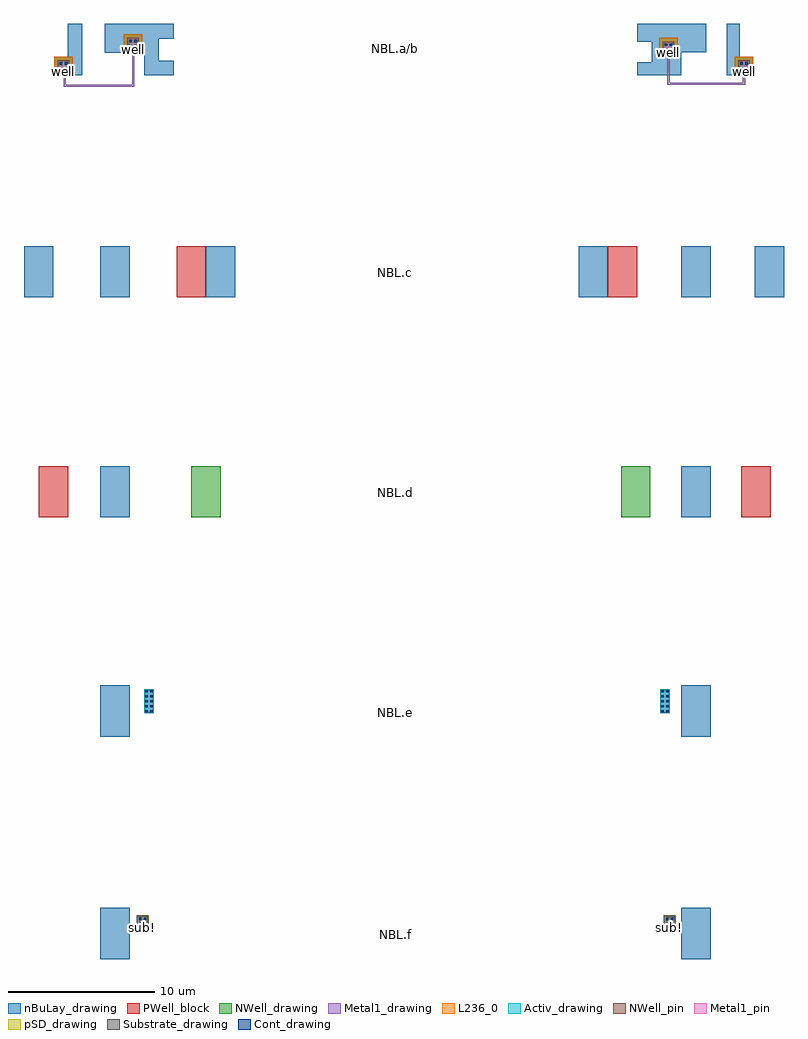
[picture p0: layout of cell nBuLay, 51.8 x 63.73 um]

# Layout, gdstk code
import gdstk
lib = gdstk.Library(unit=1e-6, precision=1e-09)
def R(c, l, rs):  # rectangles x0, y0, x1, y1
    for r in rs: c.add(gdstk.rectangle(r[:2], r[2:], *l))
def A(c, l, x, y, w, h, nx, ny, dx, dy):  # array of equal rectangles
    R(c, l, [(x+i*dx, y+j*dy, x+i*dx+w, y+j*dy+h) for i in range(nx) for j in range(ny)])
def P(c, l, *ps):  # polygons
    for p in ps: c.add(gdstk.Polygon(p, *l))
Activ_drawing = (1, 0)
Cont_drawing = (6, 0)
Metal1_drawing = (8, 0)
Metal1_pin = (8, 2)
pSD_drawing = (14, 0)
NWell_drawing = (31, 0)
NWell_pin = (31, 2)
nBuLay_drawing = (32, 0)
Substrate_drawing = (40, 0)
PWell_block = (46, 21)
L236_0 = (236, 0)

nbulay = lib.new_cell('nBuLay')
R(nbulay, Activ_drawing, [(-17.605,-67.15,-16.825,-66.37), (18.31,-67.15,19.09,-66.37), (-17.105,-52.585,-16.465,-50.925), (18.05,-52.585,18.69,-50.925), (-23.01,-8.855,-22.23,-8.075), (23.375,-8.85,24.155,-8.07), (18.23,-7.57,19.01,-6.79), (-18.26,-7.305,-17.48,-6.525)])
A(nbulay, Cont_drawing, -17.035, -52.515, 0.16, 0.16, 1, 5, 0, 0.34)
A(nbulay, Cont_drawing, -16.695, -52.515, 0.16, 0.16, 1, 5, 0, 0.34)
A(nbulay, Cont_drawing, 18.12, -52.515, 0.16, 0.16, 1, 5, 0, 0.34)
A(nbulay, Cont_drawing, 18.46, -52.515, 0.16, 0.16, 1, 5, 0, 0.34)
R(nbulay, Cont_drawing, [(-17.465,-67.01,-17.305,-66.85), (-17.125,-67.01,-16.965,-66.85), (18.45,-67.01,18.61,-66.85), (18.79,-67.01,18.95,-66.85), (-17.465,-66.67,-17.305,-66.51), (-17.125,-66.67,-16.965,-66.51), (18.45,-66.67,18.61,-66.51), (18.79,-66.67,18.95,-66.51), (-22.87,-8.715,-22.71,-8.555), (-22.53,-8.715,-22.37,-8.555), (23.515,-8.71,23.675,-8.55), (23.855,-8.71,24.015,-8.55), (-22.87,-8.375,-22.71,-8.215), (-22.53,-8.375,-22.37,-8.215), (23.515,-8.37,23.675,-8.21), (23.855,-8.37,24.015,-8.21), (18.37,-7.43,18.53,-7.27), (18.71,-7.43,18.87,-7.27), (-18.12,-7.165,-17.96,-7.005), (-17.78,-7.165,-17.62,-7.005), (18.37,-7.09,18.53,-6.93), (18.71,-7.09,18.87,-6.93), (-18.12,-6.825,-17.96,-6.665), (-17.78,-6.825,-17.62,-6.665)])
R(nbulay, Metal1_drawing, [(-17.465,-67.09,-16.965,-66.455), (18.45,-67.07,18.95,-66.455), (-17.465,-67.06,-16.965,-66.46), (18.45,-67.06,18.95,-66.46), (-17.085,-52.515,-16.485,-50.995), (18.07,-52.515,18.67,-50.995), (-22.87,-8.765,-22.37,-8.165), (23.515,-8.76,24.015,-8.16), (18.37,-7.48,18.87,-6.88), (-18.12,-7.215,-17.62,-6.615)])
R(nbulay, Metal1_pin, [(-17.465,-67.01,-16.965,-66.51), (18.45,-67.01,18.95,-66.51), (-22.87,-8.765,-22.37,-8.165), (23.515,-8.76,24.015,-8.16), (18.37,-7.48,18.87,-6.88), (-18.12,-7.215,-17.62,-6.615)])
R(nbulay, pSD_drawing, [(-17.635,-67.18,-16.795,-66.34), (18.28,-67.18,19.12,-66.34)])
R(nbulay, NWell_drawing, [(-13.9,-39.22,-11.9,-35.72), (15.39,-39.22,17.39,-35.72), (-23.25,-9.095,-21.99,-7.835), (23.135,-9.09,24.395,-7.83), (17.99,-7.81,19.25,-6.55), (-18.5,-7.545,-17.24,-6.285)])
R(nbulay, NWell_pin, [(-23.01,-8.855,-22.23,-8.075), (23.375,-8.85,24.155,-8.07), (18.23,-7.57,19.01,-6.79), (-18.26,-7.305,-17.48,-6.525)])
R(nbulay, nBuLay_drawing, [(-20.105,-69.325,-18.105,-65.825), (19.49,-69.325,21.49,-65.825), (-20.105,-54.17,-18.105,-50.67), (19.49,-54.17,21.49,-50.67), (-20.105,-39.22,-18.105,-35.72), (19.49,-39.22,21.49,-35.72), (-25.305,-24.23,-23.305,-20.73), (-20.105,-24.23,-18.105,-20.73), (-12.905,-24.23,-10.905,-20.73), (12.49,-24.23,14.49,-20.73), (19.49,-24.23,21.49,-20.73), (24.49,-24.23,26.49,-20.73), (-23.25,-9.095,-21.99,-7.835), (-22.34,-9.095,-21.34,-5.595), (22.575,-9.09,23.475,-5.59), (23.135,-9.09,24.395,-7.83), (17.99,-7.81,19.25,-6.55), (-18.5,-7.545,-17.24,-6.285)])
P(nbulay, nBuLay_drawing, [(16.49,-9.09),(16.49,-8.19),(17.49,-8.19),(17.49,-6.79),(16.49,-6.79),(16.49,-5.59),(21.175,-5.59),(21.175,-7.525),(19.49,-7.525),(19.49,-9.09)],
  [(-17.105,-9.09),(-17.105,-7.545),(-19.79,-7.545),(-19.79,-5.59),(-15.105,-5.59),(-15.105,-6.59),(-16.105,-6.59),(-16.105,-8.09),(-15.105,-8.09),(-15.105,-9.09)])
R(nbulay, Substrate_drawing, [(-17.605,-67.15,-16.825,-66.37), (18.31,-67.15,19.09,-66.37)])
R(nbulay, PWell_block, [(-24.305,-39.22,-22.305,-35.72), (23.59,-39.22,25.59,-35.72), (-14.905,-24.23,-12.905,-20.73), (14.49,-24.23,16.49,-20.73)])
R(nbulay, L236_0, [(-23.25,-9.095,-21.99,-7.835), (23.135,-9.09,24.395,-7.83), (17.99,-7.81,19.25,-6.55), (-18.5,-7.545,-17.24,-6.285)])
nbulay.add(gdstk.FlexPath([(-22.525,-8.465),(-22.525,-9.805),(-17.86,-9.805),(-17.86,-6.915)], 0.16, ends="flush", simple_path=True, layer=8, datatype=0))  # Metal1_drawing
nbulay.add(gdstk.FlexPath([(18.62,-7.18),(18.62,-9.665),(23.765,-9.665),(23.765,-8.46)], 0.16, ends="flush", simple_path=True, layer=8, datatype=0))  # Metal1_drawing
nbulay.add(gdstk.Label('5.3 nBuLay', (0,21), layer=63, texttype=0))
nbulay.add(gdstk.Label('FAIL', (12,5), layer=63, texttype=0))
nbulay.add(gdstk.Label('PASS', (-12,5), layer=63, texttype=0))
nbulay.add(gdstk.Label('NBL.e', (0,-52.5), layer=63, texttype=0))
nbulay.add(gdstk.Label('NBL.d', (0,-37.55), layer=63, texttype=0))
nbulay.add(gdstk.Label('NBL.a/b', (0,-7.295), layer=63, texttype=0))
nbulay.add(gdstk.Label('NBL.c', (0,-22.56), layer=63, texttype=0))
nbulay.add(gdstk.Label('NBL.f', (0,-67.655), layer=63, texttype=0))
nbulay.add(gdstk.Label('sub!', (18.7,-67.14), layer=63, texttype=0))
nbulay.add(gdstk.Label('well', (-17.87,-7.305), layer=63, texttype=0))
nbulay.add(gdstk.Label('well', (18.62,-7.57), layer=63, texttype=0))
nbulay.add(gdstk.Label('well', (23.765,-8.85), layer=63, texttype=0))
nbulay.add(gdstk.Label('well', (-22.62,-8.855), layer=63, texttype=0))
nbulay.add(gdstk.Label('sub!', (-17.215,-67.14), layer=63, texttype=0))
nbulay.add(gdstk.Label('[@instanceName]', (-17.87,-6.915), layer=236, texttype=1))
nbulay.add(gdstk.Label('[@instanceName]', (18.62,-7.18), layer=236, texttype=1))
nbulay.add(gdstk.Label('[@instanceName]', (23.765,-8.46), layer=236, texttype=1))
nbulay.add(gdstk.Label('[@instanceName]', (-22.62,-8.465), layer=236, texttype=1))

lib.write_gds('nBuLay.gds')
